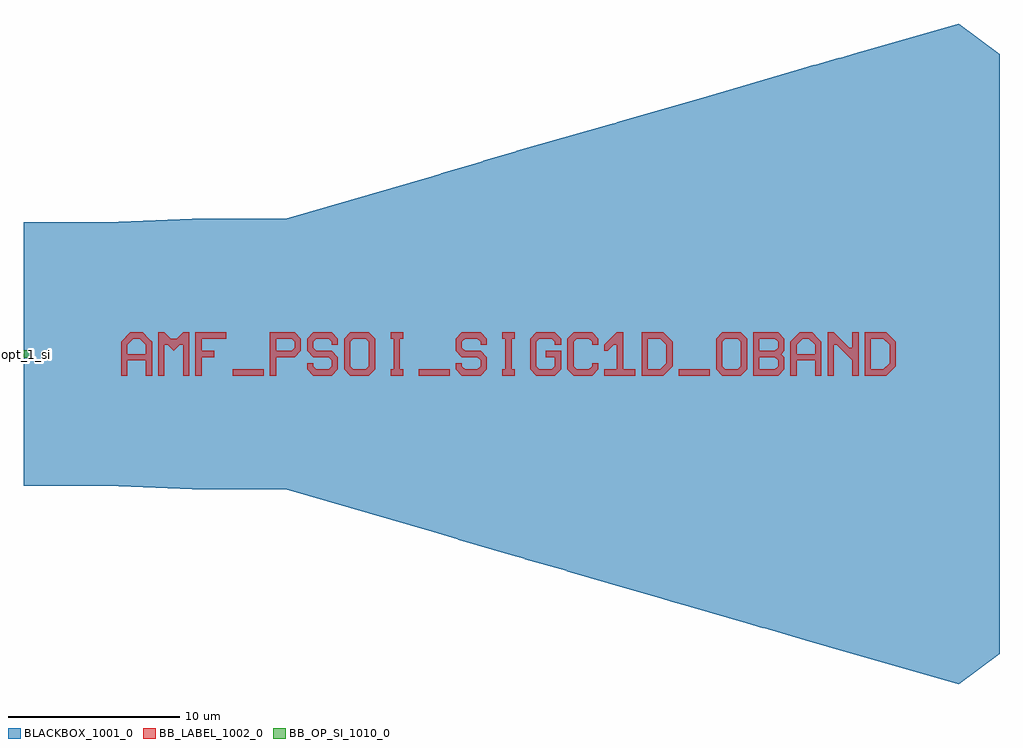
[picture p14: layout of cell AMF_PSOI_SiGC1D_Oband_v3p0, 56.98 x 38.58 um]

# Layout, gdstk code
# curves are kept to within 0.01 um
import gdstk
lib = gdstk.Library(unit=1e-6, precision=1e-09)
def R(c, l, rs):  # rectangles x0, y0, x1, y1
    for r in rs: c.add(gdstk.rectangle(r[:2], r[2:], *l))
def P(c, l, *ps):  # polygons
    for p in ps: c.add(gdstk.Polygon(p, *l))
BLACKBOX_1001_0 = (1001, 0)
BB_LABEL_1002_0 = (1002, 0)
BB_OP_SI_1010_0 = (1010, 0)

amf_psoi_sigc1d_oband_v3 = lib.new_cell('AMF_PSOI_SiGC1D_Oband_v3p0')
P(amf_psoi_sigc1d_oband_v3, BLACKBOX_1001_0, [(54.6,-19.291),(48.074,-17.4),(48.069,-17.415),(29.264,-11.96),(25.37,-10.847),(25.351,-10.811),(15.314,-7.9),(9.854,-7.9),(4.862,-7.705),(0,-7.705),(0,7.705),(4.862,7.705),(9.854,7.9),(15.314,7.9),(24.375,10.528),(24.389,10.554),(28.783,11.829),(28.796,11.853),(34.508,13.475),(34.628,13.51),(34.642,13.536),(39.648,14.966),(46.154,16.88),(46.161,16.858),(48.783,17.606),(54.598,19.292),(56.984,17.5),(56.984,-17.5)])
R(amf_psoi_sigc1d_oband_v3, BB_LABEL_1002_0, [(12.211,-1.266,14.02,-0.904), (23.066,-1.266,24.875,-0.904), (38.263,-1.266,40.072,-0.904)])
P(amf_psoi_sigc1d_oband_v3, BB_LABEL_1002_0, [(5.698,-1.266),(5.698,0.724),(6.241,1.267),(6.964,1.267),(7.326,0.905),(6.422,0.905),(6.06,0.543),(6.06,0),(7.145,0),(7.145,0.543),(6.783,0.905),(7.326,0.905),(7.507,0.724),(7.507,-1.266),(7.145,-1.266),(7.145,-0.361),(6.06,-0.361),(6.06,-1.266)],
  [(7.869,-1.266),(7.869,1.267),(8.231,1.267),(8.593,0.905),(8.954,0.905),(9.316,1.267),(9.678,1.267),(9.678,-1.266),(9.316,-1.266),(9.316,0.543),(9.135,0.543),(8.774,0.181),(8.412,0.543),(8.231,0.543),(8.231,-1.266)],
  [(10.04,-1.266),(10.04,1.267),(11.849,1.267),(11.849,0.905),(10.402,0.905),(10.402,0.181),(11.125,0.181),(11.125,-0.181),(10.402,-0.181),(10.402,-1.266)],
  [(14.382,-1.266),(14.382,1.267),(15.829,1.267),(16.191,0.905),(16.191,0.181),(15.829,-0.181),(14.744,-0.181),(14.744,0.181),(15.648,0.181),(15.829,0.362),(15.829,0.724),(15.648,0.905),(14.744,0.905),(14.744,-1.266)],
  [(16.915,-1.266),(16.553,-0.904),(16.553,-0.542),(16.915,-0.542),(16.915,-0.723),(17.096,-0.904),(17.819,-0.904),(18,-0.723),(18,-0.361),(17.819,-0.181),(16.915,-0.181),(16.553,0.181),(16.553,0.905),(16.915,1.267),(18,1.267),(18.362,0.905),(18.362,0.543),(18,0.543),(18,0.724),(17.819,0.905),(17.096,0.905),(16.915,0.724),(16.915,0.362),(17.096,0.181),(18,0.181),(18.362,-0.181),(18.362,-0.904),(18,-1.266)],
  [(19.086,-1.266),(18.724,-0.904),(18.724,0.905),(19.086,1.267),(20.171,1.267),(20.533,0.905),(20.533,0),(20.171,0),(20.171,0.724),(19.99,0.905),(19.267,0.905),(19.086,0.724),(19.086,-0.723),(19.267,-0.904),(19.99,-0.904),(20.171,-0.723),(20.171,0),(20.533,0),(20.533,-0.904),(20.171,-1.266)],
  [(21.438,-1.266),(21.438,-0.904),(21.619,-0.904),(21.619,0.905),(21.438,0.905),(21.438,1.267),(22.161,1.267),(22.161,0.905),(21.98,0.905),(21.98,-0.904),(22.161,-0.904),(22.161,-1.266)],
  [(25.599,-1.266),(25.237,-0.904),(25.237,-0.542),(25.599,-0.542),(25.599,-0.723),(25.78,-0.904),(26.503,-0.904),(26.684,-0.723),(26.684,-0.361),(26.503,-0.181),(25.599,-0.181),(25.237,0.181),(25.237,0.905),(25.599,1.267),(26.684,1.267),(27.046,0.905),(27.046,0.543),(26.684,0.543),(26.684,0.724),(26.503,0.905),(25.78,0.905),(25.599,0.724),(25.599,0.362),(25.78,0.181),(26.684,0.181),(27.046,-0.181),(27.046,-0.904),(26.684,-1.266)],
  [(27.951,-1.266),(27.951,-0.904),(28.132,-0.904),(28.132,0.905),(27.951,0.905),(27.951,1.267),(28.674,1.267),(28.674,0.905),(28.493,0.905),(28.493,-0.904),(28.674,-0.904),(28.674,-1.266)],
  [(29.941,-1.266),(29.579,-0.904),(29.579,0.905),(29.941,1.267),(31.026,1.267),(31.388,0.905),(31.388,0.543),(31.026,0.543),(31.026,0.724),(30.845,0.905),(30.122,0.905),(29.941,0.724),(29.941,-0.723),(30.122,-0.904),(30.845,-0.904),(31.026,-0.723),(31.026,-0.181),(30.484,-0.181),(30.484,0.181),(31.388,0.181),(31.388,-0.904),(31.026,-1.266)],
  [(32.112,-1.266),(31.75,-0.904),(31.75,0.905),(32.112,1.267),(33.197,1.267),(33.559,0.905),(33.559,0.543),(33.197,0.543),(33.197,0.724),(33.016,0.905),(32.293,0.905),(32.112,0.724),(32.112,-0.723),(32.293,-0.904),(33.016,-0.904),(33.197,-0.723),(33.197,-0.542),(33.559,-0.542),(33.559,-0.904),(33.197,-1.266)],
  [(33.921,-1.266),(33.921,-0.904),(34.645,-0.904),(34.645,0.543),(34.464,0.543),(34.102,0.181),(33.921,0.181),(33.921,0.543),(34.645,1.267),(35.006,1.267),(35.006,-0.904),(35.73,-0.904),(35.73,-1.266)],
  [(36.092,-1.266),(36.092,1.267),(37.358,1.267),(37.72,0.905),(36.454,0.905),(36.454,-0.904),(37.177,-0.904),(37.539,-0.542),(37.539,0.543),(37.177,0.905),(37.72,0.905),(37.901,0.724),(37.901,-0.723),(37.358,-1.266)],
  [(40.796,-1.266),(40.434,-0.904),(40.434,0.905),(40.796,1.267),(41.881,1.267),(42.243,0.905),(42.243,0),(41.881,0),(41.881,0.724),(41.7,0.905),(40.977,0.905),(40.796,0.724),(40.796,-0.723),(40.977,-0.904),(41.7,-0.904),(41.881,-0.723),(41.881,0),(42.243,0),(42.243,-0.904),(41.881,-1.266)],
  [(42.605,-1.266),(42.605,1.267),(44.052,1.267),(44.414,0.905),(42.967,0.905),(42.967,0.181),(43.871,0.181),(44.052,0.362),(44.052,0.724),(43.871,0.905),(44.414,0.905),(44.414,0.181),(44.233,0),(44.414,-0.181),(42.967,-0.181),(42.967,-0.904),(43.871,-0.904),(44.052,-0.723),(44.052,-0.361),(43.871,-0.181),(44.414,-0.181),(44.414,-0.904),(44.052,-1.266)],
  [(44.776,-1.266),(44.776,0.724),(45.319,1.267),(46.042,1.267),(46.404,0.905),(45.5,0.905),(45.138,0.543),(45.138,0),(46.223,0),(46.223,0.543),(45.861,0.905),(46.404,0.905),(46.585,0.724),(46.585,-1.266),(46.223,-1.266),(46.223,-0.361),(45.138,-0.361),(45.138,-1.266)],
  [(46.947,-1.266),(46.947,1.267),(47.309,1.267),(48.213,0.362),(48.394,0.362),(48.394,1.267),(48.756,1.267),(48.756,-1.266),(48.394,-1.266),(48.394,-0.361),(47.49,0.543),(47.309,0.543),(47.309,-1.266)],
  [(49.118,-1.266),(49.118,1.267),(50.384,1.267),(50.746,0.905),(49.48,0.905),(49.48,-0.904),(50.203,-0.904),(50.565,-0.542),(50.565,0.543),(50.203,0.905),(50.746,0.905),(50.927,0.724),(50.927,-0.723),(50.384,-1.266)])
R(amf_psoi_sigc1d_oband_v3, BB_OP_SI_1010_0, [(0,-0.205,0.41,0.205)])
amf_psoi_sigc1d_oband_v3.add(gdstk.Label('opt_1_si', (0,0), layer=1010, texttype=0))

lib.write_gds('AMF_PSOI_SiGC1D_Oband_v3p0.gds')
